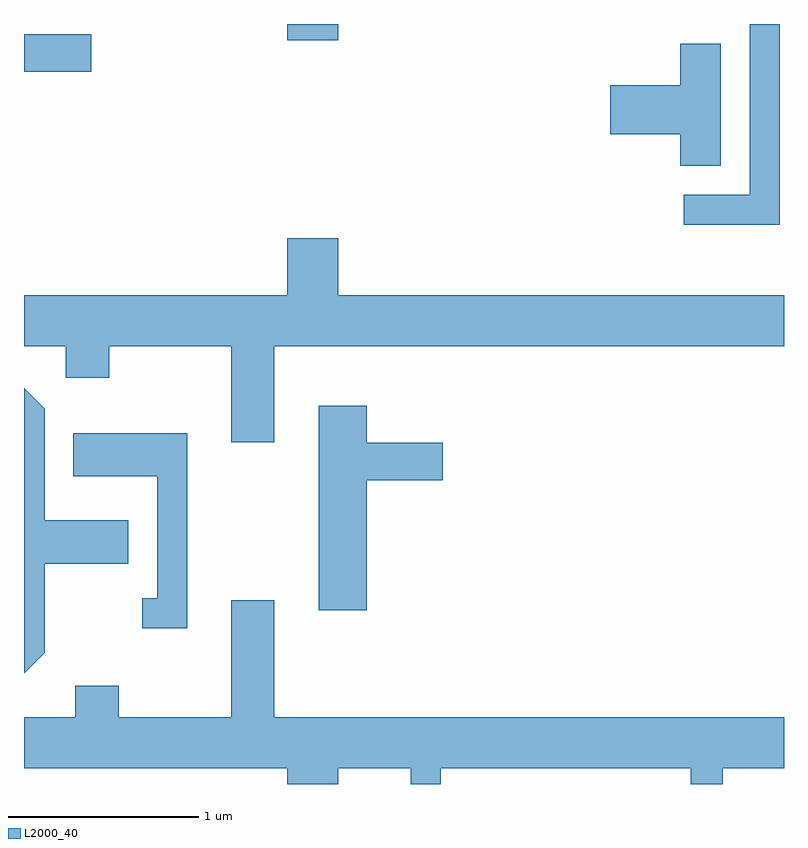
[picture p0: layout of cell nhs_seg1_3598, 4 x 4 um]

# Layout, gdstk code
import gdstk
lib = gdstk.Library(unit=1e-6, precision=1e-09)
def R(c, l, rs):  # rectangles x0, y0, x1, y1
    for r in rs: c.add(gdstk.rectangle(r[:2], r[2:], *l))
def P(c, l, *ps):  # polygons
    for p in ps: c.add(gdstk.Polygon(p, *l))
L2000_40 = (2000, 40)

nhs_seg1_3598 = lib.new_cell('nhs_seg1_3598')
R(nhs_seg1_3598, L2000_40, [(293.611,905.461,293.964,905.659), (294.996,905.626,295.264,905.712)])
P(nhs_seg1_3598, L2000_40, [(297.589,905.712),(297.431,905.712),(297.431,904.814),(297.083,904.814),(297.083,904.656),(297.589,904.656)],
  [(297.279,905.609),(297.066,905.609),(297.066,905.389),(296.696,905.389),(296.696,905.131),(297.066,905.131),(297.066,904.966),(297.279,904.966)],
  [(294.929,904.016),(297.611,904.016),(297.611,904.284),(295.264,904.284),(295.264,904.584),(294.996,904.584),(294.996,904.284),(293.611,904.284),(293.611,904.016),(293.831,904.016),(293.831,903.851),(294.059,903.851),(294.059,904.016),(294.701,904.016),(294.701,903.511),(294.929,903.511)],
  [(293.719,902.404),(293.719,902.871),(294.159,902.871),(294.159,903.099),(293.719,903.099),(293.719,903.687),(293.611,903.795),(293.611,902.295)],
  [(295.414,903.311),(295.814,903.311),(295.814,903.509),(295.414,903.509),(295.414,903.704),(295.161,903.704),(295.161,902.626),(295.414,902.626)],
  [(294.469,903.559),(293.871,903.559),(293.871,903.331),(294.311,903.331),(294.311,902.689),(294.233,902.689),(294.233,902.531),(294.469,902.531)],
  [(295.264,901.796),(295.646,901.796),(295.646,901.712),(295.804,901.712),(295.804,901.796),(297.121,901.796),(297.121,901.712),(297.289,901.712),(297.289,901.796),(297.611,901.796),(297.611,902.064),(294.929,902.064),(294.929,902.679),(294.701,902.679),(294.701,902.064),(294.109,902.064),(294.109,902.229),(293.881,902.229),(293.881,902.064),(293.611,902.064),(293.611,901.796),(294.996,901.796),(294.996,901.712),(295.264,901.712)])

lib.write_gds('nhs_seg1_3598.gds')
